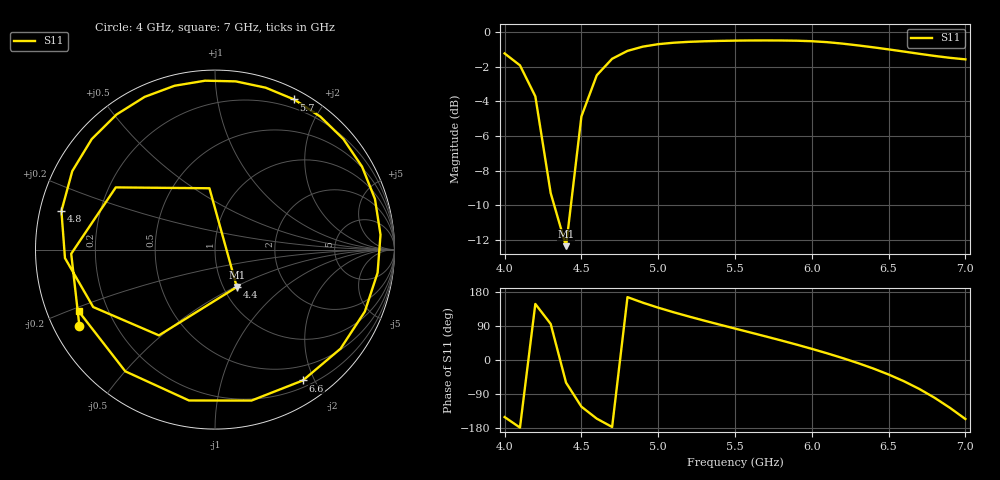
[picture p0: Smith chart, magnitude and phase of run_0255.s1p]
! Touchstone file exported from HFSS 2024.2.0
!  File:  C:/Users/wsak9/Desktop/Sim Fast/Widenad Patch/WP_AI_V1_sweep.aedt
!  Generated:  01:44:23 AM Oct 14, 2026
!  Design:  A1_model
!  Project:  WP_AI_V1_sweep
!  Setup:  Setup1
!  Solution:  Sweep
! Variables:
!  Air_gap = 2.9mm
!  Curve_Amp1 = 1.71
!  Curve_len1 = 1
!  Curve_pos = 13.25mm
!  Extra = 1.75mm
!  H_sub = 0.79mm
!  L_Patch = 22.5mm
!  L_Patch1 = 15.76mm
!  Sx = 4.54mm
!  Sy = 2.51mm
!  WS = 0.52mm
!  W_Patch = 16.43mm
!  W_Patch1 = 14.01mm
!Data is not renormalized
# GHz S MA
! Terminal data exported
! Port[1] = 1
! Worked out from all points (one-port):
!   31 points, 4 GHz to 7 GHz, reference per port
!   lowest |S11| = -12.4 dB at 4.4 GHz (marker M1), VSWR 1.64
!   |S11| at or under -10 dB: 4.323 GHz to 4.431 GHz (108.2 MHz wide, 2.47 % of centre)
!   S11 on the Smith chart (normalised r, x): 4 GHz: 0.08, -0.26; 4.4 GHz: 1.16, -0.51; 4.8 GHz: 0.06, +0.12; 5.7 GHz: 0.10, +1.65; 6.6 GHz: 0.29, -1.84; 7 GHz: 0.09, -0.21
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4  0.8673 -150.6
4.1  0.8015 -178.3
4.2  0.6524 147.9
4.3  0.3432 95.2
4.4  0.2412 -59.7
4.5  0.5708 -123.2
4.6  0.7503 -154.8
4.7  0.8372 -176.8
4.8  0.8822 165.9
4.9  0.9075 151.2
5  0.9224 138.1
5.1  0.9314 126.1
5.2  0.9368 114.7
5.3  0.9403 103.9
5.5  0.9444 83.0
5.7  0.9455 62.2
5.9  0.9439 40.8
6  0.9407 29.4
6.1  0.9348 17.6
6.2  0.9258 5.1
6.3  0.915 -8.1
6.4  0.9034 -22.4
6.5  0.891 -38.3
6.6  0.8782 -56.1
6.7  0.8653 -76.4
6.8  0.8531 -99.8
6.9  0.8425 -126.4
7  0.834 -155.7
